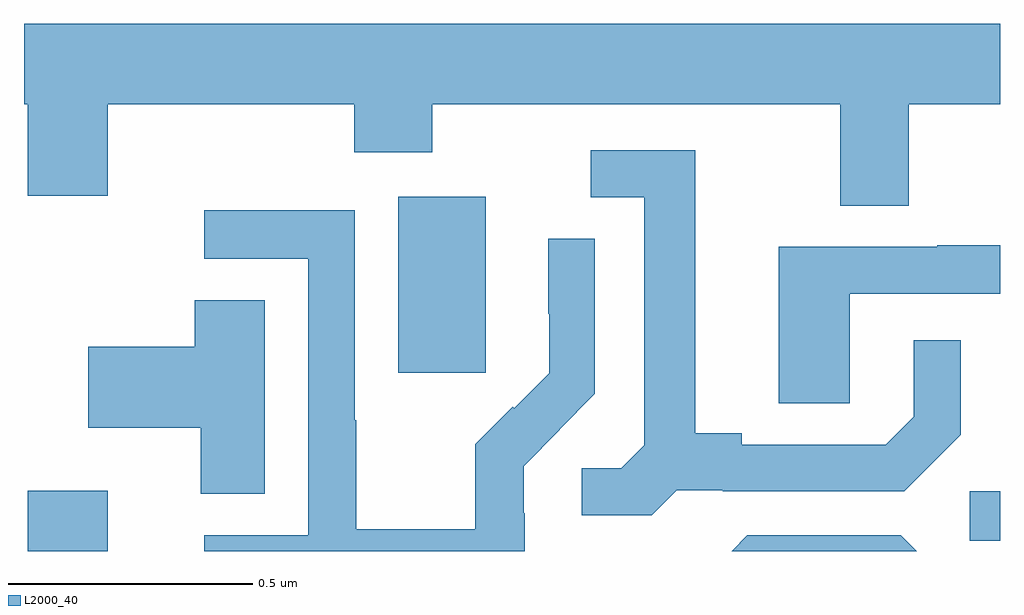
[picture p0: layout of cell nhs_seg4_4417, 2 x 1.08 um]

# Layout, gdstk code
import gdstk
lib = gdstk.Library(unit=1e-6, precision=1e-09)
def R(c, l, rs):  # rectangles x0, y0, x1, y1
    for r in rs: c.add(gdstk.rectangle(r[:2], r[2:], *l))
def P(c, l, *ps):  # polygons
    for p in ps: c.add(gdstk.Polygon(p, *l))
L2000_40 = (2000, 40)

nhs_seg4_4417 = lib.new_cell('nhs_seg4_4417')
R(nhs_seg4_4417, L2000_40, [(165.008,799.9,165.172,800.023), (166.938,799.921,167,800.022), (165.767,800.265,165.946,800.626)])
P(nhs_seg4_4417, L2000_40, [(166.813,800.816),(167,800.816),(167,800.98),(165,800.98),(165,800.816),(165.008,800.816),(165.008,800.628),(165.172,800.628),(165.172,800.816),(165.677,800.816),(165.677,800.717),(165.837,800.717),(165.837,800.816),(166.673,800.816),(166.673,800.608),(166.813,800.608)],
  [(166.338,800.025),(166.432,800.025),(166.432,800.022),(166.804,800.022),(166.92,800.138),(166.92,800.332),(166.823,800.332),(166.823,800.175),(166.766,800.118),(166.471,800.118),(166.471,800.141),(166.375,800.141),(166.375,800.721),(166.161,800.721),(166.161,800.625),(166.271,800.625),(166.271,800.117),(166.224,800.07),(166.143,800.07),(166.143,799.973),(166.286,799.973)],
  [(166.026,799.977),(166.024,799.977),(166.024,800.074),(166.098,800.148),(166.097,800.149),(166.17,800.222),(166.17,800.54),(166.074,800.54),(166.074,800.386),(166.076,800.386),(166.076,800.264),(166.005,800.193),(166.002,800.196),(165.925,800.119),(165.925,799.945),(165.681,799.945),(165.681,800.168),(165.678,800.168),(165.678,800.598),(165.369,800.598),(165.369,800.499),(165.582,800.499),(165.582,799.932),(165.369,799.932),(165.369,799.9),(166.026,799.9)],
  [(166.692,800.427),(167,800.427),(167,800.527),(166.871,800.527),(166.871,800.523),(166.547,800.523),(166.547,800.203),(166.692,800.203)],
  [(165.493,800.414),(165.35,800.414),(165.35,800.319),(165.132,800.319),(165.132,800.153),(165.362,800.153),(165.362,800.017),(165.493,800.017)],
  [(166.797,799.932),(166.482,799.932),(166.45,799.9),(166.829,799.9)])

lib.write_gds('nhs_seg4_4417.gds')
